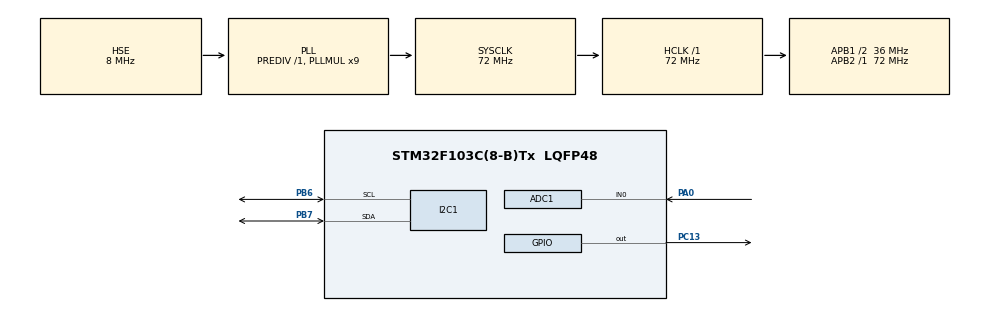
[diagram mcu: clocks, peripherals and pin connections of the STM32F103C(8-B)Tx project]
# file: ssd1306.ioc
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ADC1.Channel-0\#ChannelRegularConversion=ADC_CHANNEL_0
ADC1.NbrOfConversionFlag=1
ADC1.Rank-0\#ChannelRegularConversion=1
ADC1.SamplingTime-0\#ChannelRegularConversion=ADC_SAMPLETIME_1CYCLE_5
ADC1.master=1
Mcu.Family=STM32F1
Mcu.Name=STM32F103C(8-B)Tx
Mcu.Package=LQFP48
NVIC.PriorityGroup=NVIC_PRIORITYGROUP_4
PA0-WKUP.Signal=ADCx_IN0
PB6.Mode=I2C
PB6.Signal=I2C1_SCL
PB7.Mode=I2C
PB7.Signal=I2C1_SDA
PC13-TAMPER-RTC.Signal=GPIO_Output
PD0-OSC_IN.Mode=HSE-External-Oscillator
PD0-OSC_IN.Signal=RCC_OSC_IN
PD1-OSC_OUT.Mode=HSE-External-Oscillator
PD1-OSC_OUT.Signal=RCC_OSC_OUT
ProjectManager.HeapSize=0x200
ProjectManager.StackSize=0x400
ProjectManager.TargetToolchain=STM32CubeIDE
RCC.ADCPresc=RCC_ADCPCLK2_DIV6
RCC.AHBFreq_Value=72000000
RCC.APB1CLKDivider=RCC_HCLK_DIV2
RCC.APB1Freq_Value=36000000
RCC.APB1TimFreq_Value=72000000
RCC.APB2Freq_Value=72000000
RCC.APB2TimFreq_Value=72000000
RCC.HCLKFreq_Value=72000000
RCC.PLLMUL=RCC_PLL_MUL9
RCC.PLLSourceVirtual=RCC_PLLSOURCE_HSE
RCC.SYSCLKFreq_VALUE=72000000
RCC.SYSCLKSource=RCC_SYSCLKSOURCE_PLLCLK
RCC.USBFreq_Value=72000000
SH.ADCx_IN0.0=ADC1_IN0,IN0
VP_SYS_VS_ND.Mode=No_Debug
board=custom

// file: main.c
/* USER CODE BEGIN Header */
/**
  ******************************************************************************
  * @file           : main.c
  * @brief          : Main program body
  ******************************************************************************
  * @attention
  *
  * Copyright (c) 2025 STMicroelectronics.
  * All rights reserved.
  *
  * This software is licensed under terms that can be found in the LICENSE file
  * in the root directory of this software component.
  * If no LICENSE file comes with this software, it is provided AS-IS.
  *
  ******************************************************************************
  */
/* USER CODE END Header */
#include "main.h"

/* USER CODE BEGIN Includes */
#include "string.h"
/* USER CODE END Includes */

/* USER CODE BEGIN PD */
// Адрес дисплея SSD1306 на шине I2C
#define SSD1306_I2C_ADDRESS 0x3C

// Размеры дисплея
#define SSD1306_WIDTH 128
#define SSD1306_HEIGHT 64
/* USER CODE END PD */

ADC_HandleTypeDef hadc1;

I2C_HandleTypeDef hi2c1;

/* USER CODE BEGIN PV */
// Буфер для хранения данных дисплея
uint8_t SSD1306_Buffer[SSD1306_WIDTH * SSD1306_HEIGHT / 8];
/* USER CODE END PV */

void SystemClock_Config(void);
static void MX_GPIO_Init(void);
static void MX_I2C1_Init(void);
static void MX_ADC1_Init(void);

int main(void)
{

  /* MCU Configuration--------------------------------------------------------*/

  /* Reset of all peripherals, Initializes the Flash interface and the Systick. */
  HAL_Init();

  /* Configure the system clock */
  SystemClock_Config();

  /* Initialize all configured peripherals */
  MX_GPIO_Init();
  MX_I2C1_Init();
  MX_ADC1_Init();
  /* USER CODE BEGIN 2 */
  uint8_t a=0;
  uint8_t b=0;
  // Функция для отправки команды на SSD1306
  void SSD1306_WriteCommand(I2C_HandleTypeDef *hi2c, uint8_t command) {
      uint8_t data[2] = {0x00, command};  // 0x00 — контрольный байт для команды
      HAL_I2C_Master_Transmit(hi2c, SSD1306_I2C_ADDRESS << 1, data, 2, HAL_MAX_DELAY);
  }

  // Функция для отправки данных на SSD1306
  void SSD1306_WriteData(I2C_HandleTypeDef *hi2c, uint8_t *data, uint16_t size) {
      HAL_I2C_Mem_Write(hi2c, SSD1306_I2C_ADDRESS << 1, 0x40, I2C_MEMADD_SIZE_8BIT, data, size, HAL_MAX_DELAY);
  }

  // �?нициализация дисплея SSD1306
  void SSD1306_Init(I2C_HandleTypeDef *hi2c) {
      SSD1306_WriteCommand(hi2c, 0xAE);  // Выключить дисплей
      SSD1306_WriteCommand(hi2c, 0xD5);  // Настройка частоты обновления
      SSD1306_WriteCommand(hi2c, 0x80);
      SSD1306_WriteCommand(hi2c, 0xA8);  // Настройка мультиплексирования
      SSD1306_WriteCommand(hi2c, 0x3F);
      SSD1306_WriteCommand(hi2c, 0xD3);  // Настройка смещения дисплея
      SSD1306_WriteCommand(hi2c, 0x00);
      SSD1306_WriteCommand(hi2c, 0x40);  // Начальная строка
      SSD1306_WriteCommand(hi2c, 0x8D);  // Настройка зарядового насоса
      SSD1306_WriteCommand(hi2c, 0x14);
      SSD1306_WriteCommand(hi2c, 0x20);  // Режим адресации
      SSD1306_WriteCommand(hi2c, 0x00);
      SSD1306_WriteCommand(hi2c, 0xA1);  // Сегментное отображение
      SSD1306_WriteCommand(hi2c, 0xC8);  // Обратное сканирование COM
      SSD1306_WriteCommand(hi2c, 0xDA);  // Настройка конфигурации COM
      SSD1306_WriteCommand(hi2c, 0x12);
      SSD1306_WriteCommand(hi2c, 0x81);  // Настройка контрастности
      SSD1306_WriteCommand(hi2c, 0xCF);
      SSD1306_WriteCommand(hi2c, 0xD9);  // Настройка предзаряда
      SSD1306_WriteCommand(hi2c, 0xF1);
      SSD1306_WriteCommand(hi2c, 0xDB);  // Настройка VCOMH
      SSD1306_WriteCommand(hi2c, 0x40);
      SSD1306_WriteCommand(hi2c, 0xA4);  // Отображение RAM
      SSD1306_WriteCommand(hi2c, 0xA6);  // Нормальное отображение (не инвертированное)
      SSD1306_WriteCommand(hi2c, 0xAF);  // Включить дисплей
  }

  // Функция для установки пикселя в определённой точке
  void SSD1306_SetPixel(uint8_t x, uint8_t y, uint8_t color)
  {
      if (x >= SSD1306_WIDTH || y >= SSD1306_HEIGHT) return;  // Проверка границ

      if (color) {
          SSD1306_Buffer[x + (y / 8) * SSD1306_WIDTH] |= (1 << (y % 8));  // Включить пиксель
      } else {
          SSD1306_Buffer[x + (y / 8) * SSD1306_WIDTH] &= ~(1 << (y % 8)); // Выключить пиксель
      }
  }

  // Функция для обновления дисплея
  void SSD1306_UpdateDisplay(I2C_HandleTypeDef *hi2c) {
      for (uint8_t i = 0; i < 8; i++) {
          SSD1306_WriteCommand(hi2c, 0xB0 + i);  // Установка страницы
          SSD1306_WriteCommand(hi2c, 0x00);      // Младший байт столбца
          SSD1306_WriteCommand(hi2c, 0x10);      // Старший байт столбца

          // Отправка данных для текущей страницы
          SSD1306_WriteData(hi2c, &SSD1306_Buffer[SSD1306_WIDTH * i], SSD1306_WIDTH);
      }
  }

  // �?нициализация дисплея
  SSD1306_Init(&hi2c1);

  // Очистка буфера
  memset(SSD1306_Buffer, 0, sizeof(SSD1306_Buffer));

  // Установка пикселя в точке (10, 10)

  SSD1306_SetPixel(1, 1, 1);
  SSD1306_SetPixel(1, 10, 1);

  // Обновление дисплея
     SSD1306_UpdateDisplay(&hi2c1);
     uint16_t adc = 0;
     HAL_ADCEx_Calibration_Start(&hadc1);
     uint32_t  timme = 0;
  /* USER CODE END 2 */

  /* Infinite loop */
  while (1)
  {

    /* USER CODE BEGIN 3 */
      HAL_ADC_Start(&hadc1); // запускаем преобразование сигнала АЦП
      HAL_ADC_PollForConversion(&hadc1, 100); // ожидаем окончания преобразования
      adc = HAL_ADC_GetValue(&hadc1); // читаем полученное значение в переменную adc
	  	HAL_GPIO_WritePin(GPIOC, GPIO_PIN_13, GPIO_PIN_SET);
	  if((HAL_GetTick() - timme) > 1000) // интервал 1000мс = 1сек
	          {
		     SSD1306_UpdateDisplay(&hi2c1);

	                  // что-то делаем
	                  timme = HAL_GetTick();
	          }

      a=(a+1)%127;
      b=adc/5;
	  SSD1306_SetPixel(a, b, 1);

	  if (a>125)
	  {
		  memset(SSD1306_Buffer, 0, sizeof(SSD1306_Buffer));

	  }

	  	HAL_GPIO_WritePin(GPIOC, GPIO_PIN_13, GPIO_PIN_RESET);

//	  	HAL_Delay(1000);

//	  	HAL_Delay(1000);
//	  	SSD1306_UpdateDisplay(&hi2c1);

  }
  /* USER CODE END 3 */
}

void SystemClock_Config(void)
{
  RCC_OscInitTypeDef RCC_OscInitStruct = {0};
  RCC_ClkInitTypeDef RCC_ClkInitStruct = {0};
  RCC_PeriphCLKInitTypeDef PeriphClkInit = {0};

  /** Initializes the RCC Oscillators according to the specified parameters
  * in the RCC_OscInitTypeDef structure.
  */
  RCC_OscInitStruct.OscillatorType = RCC_OSCILLATORTYPE_HSE;
  RCC_OscInitStruct.HSEState = RCC_HSE_ON;
  RCC_OscInitStruct.HSEPredivValue = RCC_HSE_PREDIV_DIV1;
  RCC_OscInitStruct.HSIState = RCC_HSI_ON;
  RCC_OscInitStruct.PLL.PLLState = RCC_PLL_ON;
  RCC_OscInitStruct.PLL.PLLSource = RCC_PLLSOURCE_HSE;
  RCC_OscInitStruct.PLL.PLLMUL = RCC_PLL_MUL9;
  if (HAL_RCC_OscConfig(&RCC_OscInitStruct) != HAL_OK)
  {
    Error_Handler();
  }

  /** Initializes the CPU, AHB and APB buses clocks
  */
  RCC_ClkInitStruct.ClockType = RCC_CLOCKTYPE_HCLK|RCC_CLOCKTYPE_SYSCLK
                              |RCC_CLOCKTYPE_PCLK1|RCC_CLOCKTYPE_PCLK2;
  RCC_ClkInitStruct.SYSCLKSource = RCC_SYSCLKSOURCE_PLLCLK;
  RCC_ClkInitStruct.AHBCLKDivider = RCC_SYSCLK_DIV1;
  RCC_ClkInitStruct.APB1CLKDivider = RCC_HCLK_DIV2;
  RCC_ClkInitStruct.APB2CLKDivider = RCC_HCLK_DIV1;

  if (HAL_RCC_ClockConfig(&RCC_ClkInitStruct, FLASH_LATENCY_2) != HAL_OK)
  {
    Error_Handler();
  }
  PeriphClkInit.PeriphClockSelection = RCC_PERIPHCLK_ADC;
  PeriphClkInit.AdcClockSelection = RCC_ADCPCLK2_DIV6;
  if (HAL_RCCEx_PeriphCLKConfig(&PeriphClkInit) != HAL_OK)
  {
    Error_Handler();
  }
}

static void MX_ADC1_Init(void)
{

  ADC_ChannelConfTypeDef sConfig = {0};

  /** Common config
  */
  hadc1.Instance = ADC1;
  hadc1.Init.ScanConvMode = ADC_SCAN_DISABLE;
  hadc1.Init.ContinuousConvMode = DISABLE;
  hadc1.Init.DiscontinuousConvMode = DISABLE;
  hadc1.Init.ExternalTrigConv = ADC_SOFTWARE_START;
  hadc1.Init.DataAlign = ADC_DATAALIGN_RIGHT;
  hadc1.Init.NbrOfConversion = 1;
  if (HAL_ADC_Init(&hadc1) != HAL_OK)
  {
    Error_Handler();
  }

  /** Configure Regular Channel
  */
  sConfig.Channel = ADC_CHANNEL_0;
  sConfig.Rank = ADC_REGULAR_RANK_1;
  sConfig.SamplingTime = ADC_SAMPLETIME_1CYCLE_5;
  if (HAL_ADC_ConfigChannel(&hadc1, &sConfig) != HAL_OK)
  {
    Error_Handler();
  }

}

static void MX_I2C1_Init(void)
{

  hi2c1.Instance = I2C1;
  hi2c1.Init.ClockSpeed = 100000;
  hi2c1.Init.DutyCycle = I2C_DUTYCYCLE_2;
  hi2c1.Init.OwnAddress1 = 0;
  hi2c1.Init.AddressingMode = I2C_ADDRESSINGMODE_7BIT;
  hi2c1.Init.DualAddressMode = I2C_DUALADDRESS_DISABLE;
  hi2c1.Init.OwnAddress2 = 0;
  hi2c1.Init.GeneralCallMode = I2C_GENERALCALL_DISABLE;
  hi2c1.Init.NoStretchMode = I2C_NOSTRETCH_DISABLE;
  if (HAL_I2C_Init(&hi2c1) != HAL_OK)
  {
    Error_Handler();
  }

}

static void MX_GPIO_Init(void)
{
  GPIO_InitTypeDef GPIO_InitStruct = {0};

  /* GPIO Ports Clock Enable */
  __HAL_RCC_GPIOC_CLK_ENABLE();
  __HAL_RCC_GPIOD_CLK_ENABLE();
  __HAL_RCC_GPIOA_CLK_ENABLE();
  __HAL_RCC_GPIOB_CLK_ENABLE();

  /*Configure GPIO pin Output Level */
  HAL_GPIO_WritePin(GPIOC, GPIO_PIN_13, GPIO_PIN_RESET);

  /*Configure GPIO pin : PC13 */
  GPIO_InitStruct.Pin = GPIO_PIN_13;
  GPIO_InitStruct.Mode = GPIO_MODE_OUTPUT_PP;
  GPIO_InitStruct.Pull = GPIO_NOPULL;
  GPIO_InitStruct.Speed = GPIO_SPEED_FREQ_LOW;
  HAL_GPIO_Init(GPIOC, &GPIO_InitStruct);

}

void Error_Handler(void)
{
  __disable_irq();
  while (1)
  {
  }
}
